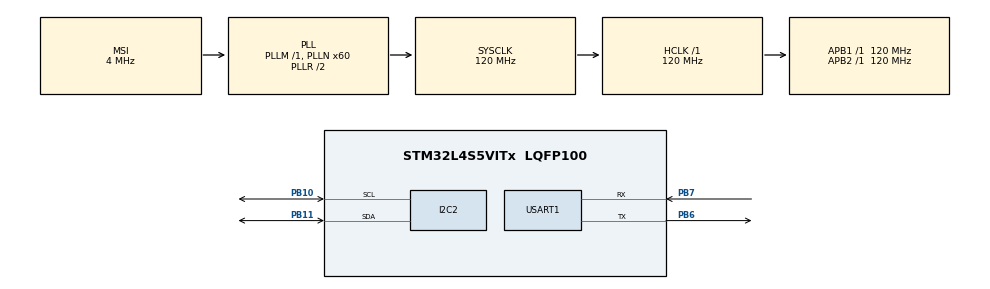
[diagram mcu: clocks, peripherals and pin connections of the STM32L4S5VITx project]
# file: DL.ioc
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I2C2.Timing=0x30A175AB
Mcu.Family=STM32L4
Mcu.Name=STM32L4S5VITx
Mcu.Package=LQFP100
NVIC.PriorityGroup=NVIC_PRIORITYGROUP_4
PB10.Mode=I2C
PB10.Signal=I2C2_SCL
PB11.Mode=I2C
PB11.Signal=I2C2_SDA
PB6.Mode=Asynchronous
PB6.Signal=USART1_TX
PB7.Mode=Asynchronous
PB7.Signal=USART1_RX
ProjectManager.HeapSize=0x800
ProjectManager.StackSize=0x800
ProjectManager.TargetToolchain=STM32CubeIDE
RCC.ADCFreq_Value=48000000
RCC.AHBFreq_Value=120000000
RCC.APB1Freq_Value=120000000
RCC.APB1TimFreq_Value=120000000
RCC.APB2Freq_Value=120000000
RCC.APB2TimFreq_Value=120000000
RCC.CortexFreq_Value=120000000
RCC.HCLKFreq_Value=120000000
RCC.HSE_VALUE=8000000
RCC.HSI48_VALUE=48000000
RCC.HSI_VALUE=16000000
RCC.LSE_VALUE=32768
RCC.MSI_VALUE=4000000
RCC.PLLN=60
RCC.PLLSAI1N=24
RCC.SYSCLKFreq_VALUE=120000000
RCC.SYSCLKSource=RCC_SYSCLKSOURCE_PLLCLK
RCC.USBFreq_Value=48000000
RCC.VCOOutputFreq_Value=240000000
STMicroelectronics.X-CUBE-AI.10.2.1.ActivationBufferSizeList=2196
STMicroelectronics.X-CUBE-AI.10.2.1.ActivationBuffers=pool0
STMicroelectronics.X-CUBE-AI.10.2.1.ActivationNames=pool0
STMicroelectronics.X-CUBE-AI.10.2.1.ActivationSizes=AI_NETWORK_DATA_ACTIVATION_1_SIZE
STMicroelectronics.X-CUBE-AI.10.2.1.HeapSize=0x800
STMicroelectronics.X-CUBE-AI.10.2.1.InternalRamActivationBufferMaxSize=AI_NETWORK_DATA_ACTIVATIONS_SIZE
STMicroelectronics.X-CUBE-AI.10.2.1.LatestDirectoryUsed-9768739c1e00d8dc2c0b29e2023e5a888d45308df69dacfc3efc94a535adbe6e=D\:\\TinyML_Workshop-main\\TinyML_Workshop_PGR\\TinyML_PGR\\ONNX
STMicroelectronics.X-CUBE-AI.10.2.1.MaximumNumberOfInputLayer=1
STMicroelectronics.X-CUBE-AI.10.2.1.MaximumNumberOfOutputLayer=1
STMicroelectronics.X-CUBE-AI.10.2.1.MaximumSizeOfInputLayer=1
STMicroelectronics.X-CUBE-AI.10.2.1.MaximumSizeOfOutputLayer=1
STMicroelectronics.X-CUBE-AI.10.2.1.ModelActualCompression-9768739c1e00d8dc2c0b29e2023e5a888d45308df69dacfc3efc94a535adbe6e=0.0
STMicroelectronics.X-CUBE-AI.10.2.1.ModelCompression-9768739c1e00d8dc2c0b29e2023e5a888d45308df69dacfc3efc94a535adbe6e=None
STMicroelectronics.X-CUBE-AI.10.2.1.ModelFlashOccupation-9768739c1e00d8dc2c0b29e2023e5a888d45308df69dacfc3efc94a535adbe6e=19528
STMicroelectronics.X-CUBE-AI.10.2.1.ModelHashList=9768739c1e00d8dc2c0b29e2023e5a888d45308df69dacfc3efc94a535adbe6e
STMicroelectronics.X-CUBE-AI.10.2.1.ModelKind-9768739c1e00d8dc2c0b29e2023e5a888d45308df69dacfc3efc94a535adbe6e=ONNX
STMicroelectronics.X-CUBE-AI.10.2.1.ModelMacc-9768739c1e00d8dc2c0b29e2023e5a888d45308df69dacfc3efc94a535adbe6e=2789
STMicroelectronics.X-CUBE-AI.10.2.1.ModelName-9768739c1e00d8dc2c0b29e2023e5a888d45308df69dacfc3efc94a535adbe6e=network
STMicroelectronics.X-CUBE-AI.10.2.1.ModelNameList=network
STMicroelectronics.X-CUBE-AI.10.2.1.ModelRamOccupation-9768739c1e00d8dc2c0b29e2023e5a888d45308df69dacfc3efc94a535adbe6e=2196
STMicroelectronics.X-CUBE-AI.10.2.1.ModelStructureFile-9768739c1e00d8dc2c0b29e2023e5a888d45308df69dacfc3efc94a535adbe6e=D\:\\TinyML_Workshop-main\\TinyML_Workshop_PGR\\TinyML_PGR\\ONNX\\mlp_model.onnx
STMicroelectronics.X-CUBE-AI.10.2.1.ModelType-9768739c1e00d8dc2c0b29e2023e5a888d45308df69dacfc3efc94a535adbe6e=STM32Cube.AI MCU runtime
STMicroelectronics.X-CUBE-AI.10.2.1.ReadyForCodeGeneration=true
STMicroelectronics.X-CUBE-AI.10.2.1.StackSize=0x800
STMicroelectronics.X-CUBE-AI.10.2.1.WorkingBufferStartAddrList=0xFFFFFFFF
STMicroelectronics.X-CUBE-AI.10.2.1.XAaCUBEAaAICcArtificialOoIntelligenceJjCore=true
STMicroelectronics.X-CUBE-AI.10.2.1.copyWeightToRam=false
STMicroelectronics.X-CUBE-AI.10.2.1.copyWeightToRam-9768739c1e00d8dc2c0b29e2023e5a888d45308df69dacfc3efc94a535adbe6e=false
STMicroelectronics.X-CUBE-AI.10.2.1.customLayerConfigEnabled=false
STMicroelectronics.X-CUBE-AI.10.2.1.customLayerConfigEnabled-9768739c1e00d8dc2c0b29e2023e5a888d45308df69dacfc3efc94a535adbe6e=false
STMicroelectronics.X-CUBE-AI.10.2.1.noOnnxIoTranspose=false
STMicroelectronics.X-CUBE-AI.10.2.1.noOnnxIoTranspose-9768739c1e00d8dc2c0b29e2023e5a888d45308df69dacfc3efc94a535adbe6e=false
STMicroelectronics.X-CUBE-AI.10.2.1.useInputAllocation=true
STMicroelectronics.X-CUBE-AI.10.2.1.useInputAllocation-9768739c1e00d8dc2c0b29e2023e5a888d45308df69dacfc3efc94a535adbe6e=true
STMicroelectronics.X-CUBE-AI.10.2.1.useOutputAllocation=true
STMicroelectronics.X-CUBE-AI.10.2.1.useOutputAllocation-9768739c1e00d8dc2c0b29e2023e5a888d45308df69dacfc3efc94a535adbe6e=true
USART1.VirtualMode-Asynchronous=VM_ASYNC
VP_STMicroelectronics.X-CUBE-AI_VS_ArtificialOoIntelligenceJjXAaCUBEAaAI_10.2.1.Mode=ArtificialOoIntelligenceJjXAaCUBEAaAI
board=B-L4S5I-IOT01A

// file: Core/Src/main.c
/* USER CODE BEGIN Header */
/**
  ******************************************************************************
  * @file           : main.c
  * @brief          : Main program body
  ******************************************************************************
  * @attention
  *
  * Copyright (c) 2026 STMicroelectronics.
  * All rights reserved.
  *
  * This software is licensed under terms that can be found in the LICENSE file
  * in the root directory of this software component.
  * If no LICENSE file comes with this software, it is provided AS-IS.
  *
  ******************************************************************************
  */
/* USER CODE END Header */
#include "main.h"

/* USER CODE BEGIN Includes */
#include "imu.h"
#include "string.h"
#include "stdio.h"
#include "network.h"
#include "network_data.h"
#include "network_data_params.h"
/* USER CODE END Includes */

I2C_HandleTypeDef hi2c2;

UART_HandleTypeDef huart1;

/* USER CODE BEGIN PV */
ai_handle network = AI_HANDLE_NULL;

AI_ALIGNED(4)
static ai_u8 activations_buffer[AI_NETWORK_DATA_ACTIVATIONS_SIZE];

static ai_buffer *ai_input;
static ai_buffer *ai_output;

/* Input Features */
float input_data[6];

const float feature_min[6] =
{
    -2.000f,
    -2.000f,
    -2.000f,
    -250.137f,
    -250.137f,
    -250.137f
};

const float feature_max[6] =
{
     2.000f,
     1.749f,
     2.000f,
     250.130f,
     250.130f,
     250.130f
};

/* Network Output (5 Classes) */
float output_data[5];

/* Predicted Label */
int32_t predicted_label;
/* USER CODE END PV */

void SystemClock_Config(void);
static void MX_GPIO_Init(void);
static void MX_I2C2_Init(void);
static void MX_USART1_UART_Init(void);
/* USER CODE BEGIN PFP */
void Normalize_Features(void);
void AI_Run(void);
/* USER CODE END PFP */

/* USER CODE BEGIN 0 */
void MX_X_CUBE_AI_Init(void)
{
    ai_error err;

    /* Activation memory */
    const ai_handle activations[] =
    {
    		activations_buffer
    };

    /* Use embedded weights generated by X-CUBE-AI */
    err = ai_network_create_and_init(
            &network,
            activations,
            NULL);

    if (err.type != AI_ERROR_NONE)
    {
        printf("AI Init Failed\r\n");
        printf("Type = %d\r\n", err.type);
        printf("Code = %d\r\n", err.code);
        Error_Handler();
    }

    ai_input  = ai_network_inputs_get(network, NULL);
    ai_output = ai_network_outputs_get(network, NULL);

    printf("AI Initialized Successfully\r\n");
}

/* USER CODE END 0 */

int main(void)
{

  /* MCU Configuration--------------------------------------------------------*/

  /* Reset of all peripherals, Initializes the Flash interface and the Systick. */
  HAL_Init();

  /* Configure the system clock */
  SystemClock_Config();

  /* Initialize all configured peripherals */
  MX_GPIO_Init();
  MX_I2C2_Init();
  MX_USART1_UART_Init();
  /* USER CODE BEGIN 2 */
  IMU_Init();
  float ax, ay, az;
  float gx, gy, gz;
  /* USER CODE END 2 */
  printf("\r\n");
    printf("MLP STM32 Demo\r\n");

    MX_X_CUBE_AI_Init();

    /* Enable DWT Cycle Counter */
    CoreDebug->DEMCR |= CoreDebug_DEMCR_TRCENA_Msk;
    DWT->CTRL |= DWT_CTRL_CYCCNTENA_Msk;
  /* Infinite loop */
  while (1)
  {

    /* USER CODE BEGIN 3 */

	  IMU_Read_Accel(&ax, &ay, &az);
	  IMU_Read_Gyro(&gx, &gy, &gz);

	  /* Build feature vector */
	 	  input_data[0] = ax;
	 	  input_data[1] = ay;
	 	  input_data[2] = az;
	 	  input_data[3] = gx;
	 	  input_data[4] = gy;
	 	  input_data[5] = gz;

	 	 /* Normalize */
	 	 	  Normalize_Features();

	 	 	  printf("\r\nRaw Sensor Values\r\n");

	 	 	  printf("Ax = %.3f\tAy = %.3f\tAz = %.3f\r\n", ax, ay, az);

	 	 	  printf("Gx = %.3f\tGy = %.3f\tGz = %.3f\r\n", gx, gy, gz);

	 	 	  printf("\r\nNormalized Features\r\n");

	 	 	  for(int i = 0; i < 6; i++)
	 	 	  {
	 	 	      printf("%.3f ", input_data[i]);
	 	 	  }

	 	 	  printf("\r\n");

	 	 	  /* Run inference */
	 	 	  /* Measure inference latency */
	 	 	  uint64_t total_cycles = 0;

	 	 	  for(int i = 0; i < 1000; i++)
	 	 	  {
	 	 	      uint32_t start = DWT->CYCCNT;

	 	 	      AI_Run();

	 	 	      uint32_t end = DWT->CYCCNT;

	 	 	      DWT->CYCCNT = 0;

	 	 	      total_cycles += (end - start);
	 	 	  }

	 	 	  printf("\nOutput Scores\n");

	 	 	  for(int i = 0; i < 5; i++)
	 	 	  {
	 	 	      printf("Class %d : %.6f\r\n", i, output_data[i]);
	 	 	  }

	 	 	  printf("Predicted Class : %ld\r\n", predicted_label);

	 	 	  uint32_t avg_cycles = total_cycles / 1000;

	 	 	  printf("\nAverage CPU Cycles : %lu\r\n", avg_cycles);

	 	 	  float latency_ms =
	 	 	  ((float)avg_cycles / 120000000.0f) * 1000.0f;

	 	 	  printf("Average Latency : %.3f ms\r\n", latency_ms);

	 	 	  float throughput =
	 	 	  1000.0f / latency_ms;

	 	 	  printf("Throughput : %.2f inf/sec\r\n", throughput);

	 	 	  HAL_Delay(1000);
  }
  /* USER CODE END 3 */
}

void SystemClock_Config(void)
{
  RCC_OscInitTypeDef RCC_OscInitStruct = {0};
  RCC_ClkInitTypeDef RCC_ClkInitStruct = {0};

  /** Configure the main internal regulator output voltage
  */
  if (HAL_PWREx_ControlVoltageScaling(PWR_REGULATOR_VOLTAGE_SCALE1_BOOST) != HAL_OK)
  {
    Error_Handler();
  }

  /** Initializes the RCC Oscillators according to the specified parameters
  * in the RCC_OscInitTypeDef structure.
  */
  RCC_OscInitStruct.OscillatorType = RCC_OSCILLATORTYPE_MSI;
  RCC_OscInitStruct.MSIState = RCC_MSI_ON;
  RCC_OscInitStruct.MSICalibrationValue = 0;
  RCC_OscInitStruct.MSIClockRange = RCC_MSIRANGE_6;
  RCC_OscInitStruct.PLL.PLLState = RCC_PLL_ON;
  RCC_OscInitStruct.PLL.PLLSource = RCC_PLLSOURCE_MSI;
  RCC_OscInitStruct.PLL.PLLM = 1;
  RCC_OscInitStruct.PLL.PLLN = 60;
  RCC_OscInitStruct.PLL.PLLP = RCC_PLLP_DIV2;
  RCC_OscInitStruct.PLL.PLLQ = RCC_PLLQ_DIV2;
  RCC_OscInitStruct.PLL.PLLR = RCC_PLLR_DIV2;
  if (HAL_RCC_OscConfig(&RCC_OscInitStruct) != HAL_OK)
  {
    Error_Handler();
  }

  /** Initializes the CPU, AHB and APB buses clocks
  */
  RCC_ClkInitStruct.ClockType = RCC_CLOCKTYPE_HCLK|RCC_CLOCKTYPE_SYSCLK
                              |RCC_CLOCKTYPE_PCLK1|RCC_CLOCKTYPE_PCLK2;
  RCC_ClkInitStruct.SYSCLKSource = RCC_SYSCLKSOURCE_PLLCLK;
  RCC_ClkInitStruct.AHBCLKDivider = RCC_SYSCLK_DIV1;
  RCC_ClkInitStruct.APB1CLKDivider = RCC_HCLK_DIV1;
  RCC_ClkInitStruct.APB2CLKDivider = RCC_HCLK_DIV1;

  if (HAL_RCC_ClockConfig(&RCC_ClkInitStruct, FLASH_LATENCY_5) != HAL_OK)
  {
    Error_Handler();
  }
}

static void MX_I2C2_Init(void)
{

  hi2c2.Instance = I2C2;
  hi2c2.Init.Timing = 0x30A175AB;
  hi2c2.Init.OwnAddress1 = 0;
  hi2c2.Init.AddressingMode = I2C_ADDRESSINGMODE_7BIT;
  hi2c2.Init.DualAddressMode = I2C_DUALADDRESS_DISABLE;
  hi2c2.Init.OwnAddress2 = 0;
  hi2c2.Init.OwnAddress2Masks = I2C_OA2_NOMASK;
  hi2c2.Init.GeneralCallMode = I2C_GENERALCALL_DISABLE;
  hi2c2.Init.NoStretchMode = I2C_NOSTRETCH_DISABLE;
  if (HAL_I2C_Init(&hi2c2) != HAL_OK)
  {
    Error_Handler();
  }

  /** Configure Analogue filter
  */
  if (HAL_I2CEx_ConfigAnalogFilter(&hi2c2, I2C_ANALOGFILTER_ENABLE) != HAL_OK)
  {
    Error_Handler();
  }

  /** Configure Digital filter
  */
  if (HAL_I2CEx_ConfigDigitalFilter(&hi2c2, 0) != HAL_OK)
  {
    Error_Handler();
  }

}

static void MX_USART1_UART_Init(void)
{

  huart1.Instance = USART1;
  huart1.Init.BaudRate = 115200;
  huart1.Init.WordLength = UART_WORDLENGTH_8B;
  huart1.Init.StopBits = UART_STOPBITS_1;
  huart1.Init.Parity = UART_PARITY_NONE;
  huart1.Init.Mode = UART_MODE_TX_RX;
  huart1.Init.HwFlowCtl = UART_HWCONTROL_NONE;
  huart1.Init.OverSampling = UART_OVERSAMPLING_16;
  huart1.Init.OneBitSampling = UART_ONE_BIT_SAMPLE_DISABLE;
  huart1.Init.ClockPrescaler = UART_PRESCALER_DIV1;
  huart1.AdvancedInit.AdvFeatureInit = UART_ADVFEATURE_NO_INIT;
  if (HAL_UART_Init(&huart1) != HAL_OK)
  {
    Error_Handler();
  }
  if (HAL_UARTEx_SetTxFifoThreshold(&huart1, UART_TXFIFO_THRESHOLD_1_8) != HAL_OK)
  {
    Error_Handler();
  }
  if (HAL_UARTEx_SetRxFifoThreshold(&huart1, UART_RXFIFO_THRESHOLD_1_8) != HAL_OK)
  {
    Error_Handler();
  }
  if (HAL_UARTEx_DisableFifoMode(&huart1) != HAL_OK)
  {
    Error_Handler();
  }

}

static void MX_GPIO_Init(void)
{

  /* GPIO Ports Clock Enable */
  __HAL_RCC_GPIOB_CLK_ENABLE();

}

/* USER CODE BEGIN 4 */
int _write(int file, char *ptr, int len)
{
    HAL_UART_Transmit(&huart1, (uint8_t*)ptr, len, HAL_MAX_DELAY);
    return len;
}

void Normalize_Features(void)
{
    for(int i = 0; i < 6; i++)
    {
        input_data[i] =
            (input_data[i] - feature_min[i]) /
            (feature_max[i] - feature_min[i]);

        /* Optional safety clipping */
        if(input_data[i] < 0.0f)
            input_data[i] = 0.0f;

        if(input_data[i] > 1.0f)
            input_data[i] = 1.0f;
    }
}

void AI_Run(void)
{
    ai_i32 batch;

    ai_input[0].data = AI_HANDLE_PTR(input_data);
    ai_output[0].data = AI_HANDLE_PTR(output_data);

    batch = ai_network_run(network,
                           ai_input,
                           ai_output);

    if(batch != 1)
        return;

    predicted_label = 0;

    for(int i = 1; i < 5; i++)
    {
        if(output_data[i] > output_data[predicted_label])
            predicted_label = i;
    }
}
/* USER CODE END 4 */

void Error_Handler(void)
{
  __disable_irq();
  while (1)
  {
  }
}
